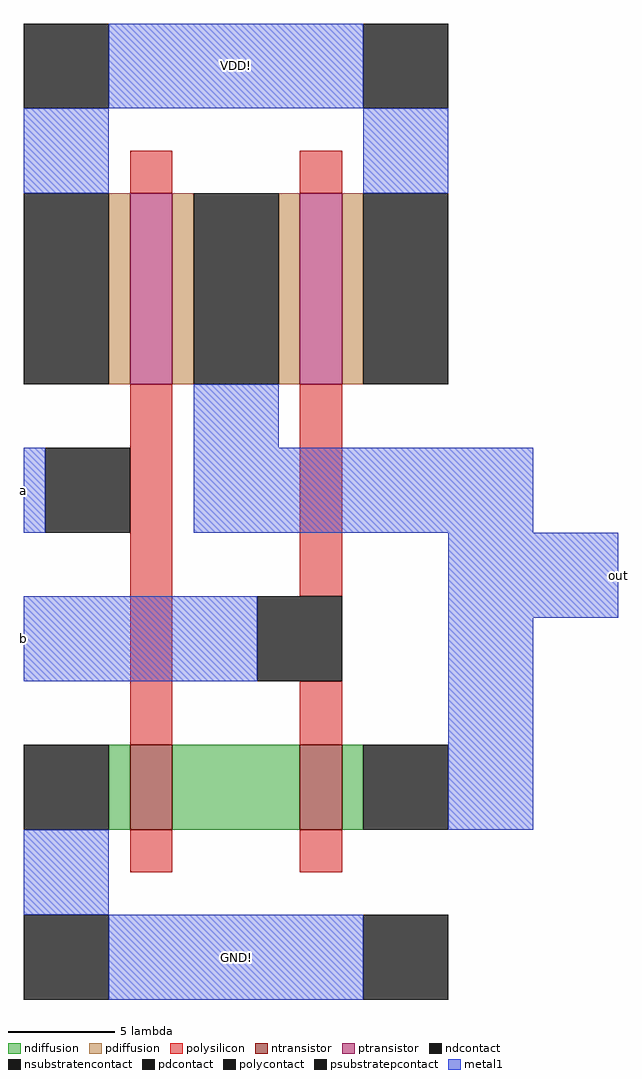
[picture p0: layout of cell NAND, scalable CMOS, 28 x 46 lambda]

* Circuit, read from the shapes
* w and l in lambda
.subckt NAND GND! VDD! a b out
M1 n1 a GND! GND! nfet w=4 l=2
M2 out b n1 GND! nfet w=4 l=2
M3 out a VDD! VDD! pfet w=9 l=2
M4 VDD! b out VDD! pfet w=9 l=2
.ends

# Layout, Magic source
magic
tech scmos
<< ntransistor >>
rect 55 41 57 45
rect 63 41 65 45
<< ptransistor >>
rect 55 62 57 71
rect 63 62 65 71
<< ndiffusion >>
rect 54 41 55 45
rect 57 41 63 45
rect 65 41 66 45
<< pdiffusion >>
rect 54 62 55 71
rect 57 62 58 71
rect 62 62 63 71
rect 65 62 66 71
<< ndcontact >>
rect 50 41 54 45
rect 66 41 70 45
<< pdcontact >>
rect 50 62 54 71
rect 58 62 62 71
rect 66 62 70 71
<< psubstratepcontact >>
rect 50 33 54 37
rect 66 33 70 37
<< nsubstratencontact >>
rect 50 75 54 79
rect 66 75 70 79
<< polysilicon >>
rect 55 71 57 73
rect 63 71 65 73
rect 55 45 57 62
rect 63 52 65 62
rect 63 45 65 48
rect 55 39 57 41
rect 63 39 65 41
<< polycontact >>
rect 51 55 55 59
rect 61 48 65 52
<< metal1 >>
rect 54 75 66 79
rect 50 71 54 75
rect 66 71 70 75
rect 58 59 62 62
rect 50 55 51 59
rect 58 55 74 59
rect 50 48 61 52
rect 70 51 78 55
rect 70 41 74 51
rect 50 37 54 41
rect 54 33 66 37
<< labels >>
rlabel metal1 50 55 50 59 3 a
rlabel metal1 50 48 50 52 3 b
rlabel metal1 60 77 60 77 5 VDD!
rlabel metal1 60 35 60 35 1 GND!
rlabel metal1 78 51 78 55 7 out
<< end >>
